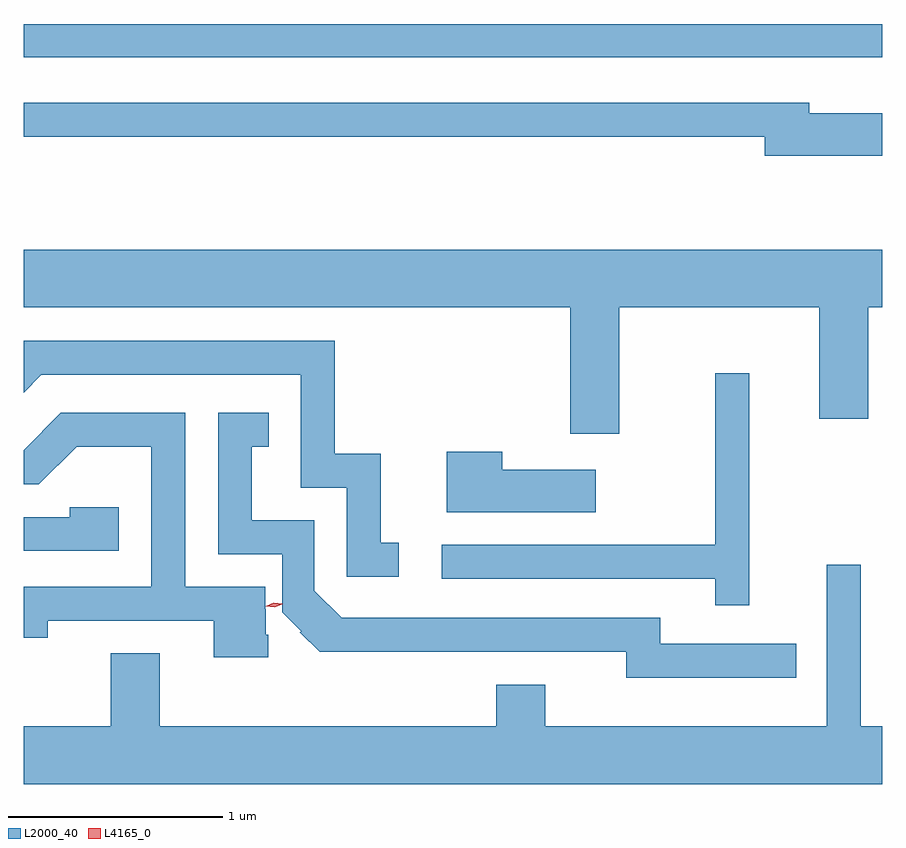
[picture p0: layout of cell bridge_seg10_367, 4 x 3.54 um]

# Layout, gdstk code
import gdstk
lib = gdstk.Library(unit=1e-6, precision=1e-09)
def R(c, l, rs):  # rectangles x0, y0, x1, y1
    for r in rs: c.add(gdstk.rectangle(r[:2], r[2:], *l))
def P(c, l, *ps):  # polygons
    for p in ps: c.add(gdstk.Polygon(p, *l))
L2000_40 = (2000, 40)
L4165_0 = (4165, 0)

bridge_seg10_367 = lib.new_cell('bridge_seg10_367')
R(bridge_seg10_367, L2000_40, [(1128.305,2112.861,1132.305,2113.015)])
P(bridge_seg10_367, L2000_40, [(1132.305,2112.599),(1131.964,2112.599),(1131.964,2112.649),(1128.305,2112.649),(1128.305,2112.491),(1131.756,2112.491),(1131.756,2112.401),(1132.305,2112.401)],
  [(1131.079,2111.696),(1132.011,2111.696),(1132.011,2111.176),(1132.239,2111.176),(1132.239,2111.696),(1132.305,2111.696),(1132.305,2111.964),(1128.305,2111.964),(1128.305,2111.696),(1130.851,2111.696),(1130.851,2111.106),(1131.079,2111.106)],
  [(1130.053,2110.599),(1129.969,2110.599),(1129.969,2111.014),(1129.754,2111.014),(1129.754,2111.539),(1128.305,2111.539),(1128.305,2111.299),(1128.387,2111.381),(1129.596,2111.381),(1129.596,2110.856),(1129.811,2110.856),(1129.811,2110.441),(1130.053,2110.441)],
  [(1131.684,2111.388),(1131.526,2111.388),(1131.526,2110.589),(1130.253,2110.589),(1130.253,2110.431),(1131.526,2110.431),(1131.526,2110.308),(1131.684,2110.308)],
  [(1131.903,2110.129),(1131.269,2110.129),(1131.269,2110.249),(1129.787,2110.249),(1129.659,2110.377),(1129.659,2110.704),(1129.369,2110.704),(1129.369,2111.046),(1129.448,2111.046),(1129.448,2111.204),(1129.211,2111.204),(1129.211,2110.546),(1129.511,2110.546),(1129.511,2110.276),(1129.598,2110.188),(1129.592,2110.182),(1129.684,2110.091),(1131.111,2110.091),(1131.111,2109.971),(1131.903,2109.971)],
  [(1129.445,2110.17),(1129.432,2110.17),(1129.432,2110.29),(1129.43,2110.29),(1129.43,2110.394),(1129.059,2110.394),(1129.059,2111.204),(1128.479,2111.204),(1128.305,2111.03),(1128.305,2110.871),(1128.377,2110.871),(1128.552,2111.046),(1128.901,2111.046),(1128.901,2110.394),(1128.305,2110.394),(1128.305,2110.158),(1128.419,2110.158),(1128.419,2110.236),(1129.191,2110.236),(1129.191,2110.066),(1129.445,2110.066)],
  [(1130.969,2110.939),(1130.534,2110.939),(1130.534,2111.024),(1130.276,2111.024),(1130.276,2110.741),(1130.969,2110.741)],
  [(1128.749,2110.764),(1128.521,2110.764),(1128.521,2110.719),(1128.305,2110.719),(1128.305,2110.561),(1128.749,2110.561)],
  [(1132.305,2109.744),(1132.204,2109.744),(1132.204,2110.498),(1132.046,2110.498),(1132.046,2109.744),(1130.734,2109.744),(1130.734,2109.939),(1130.506,2109.939),(1130.506,2109.744),(1128.939,2109.744),(1128.939,2110.084),(1128.711,2110.084),(1128.711,2109.744),(1128.305,2109.744),(1128.305,2109.476),(1132.305,2109.476)])
P(bridge_seg10_367, L4165_0, [(1129.474,2110.3),(1129.433,2110.303),(1129.432,2110.303),(1129.433,2110.304),(1129.471,2110.319),(1129.512,2110.316),(1129.512,2110.316),(1129.512,2110.315)],
  [(1129.474,2110.298),(1129.435,2110.303),(1129.435,2110.303),(1129.435,2110.304),(1129.471,2110.318),(1129.51,2110.314),(1129.51,2110.314),(1129.51,2110.313)])

lib.write_gds('bridge_seg10_367.gds')
